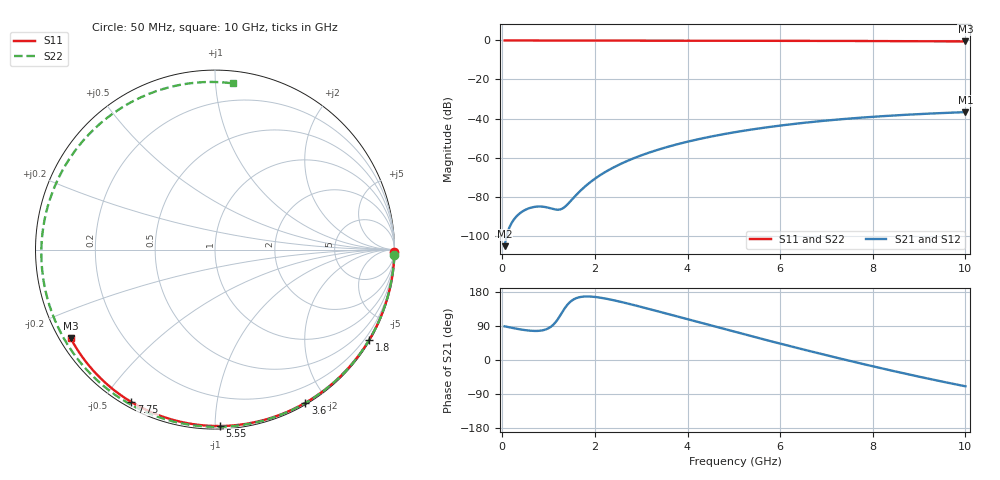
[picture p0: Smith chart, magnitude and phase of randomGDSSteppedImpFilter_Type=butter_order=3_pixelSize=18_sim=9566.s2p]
! freq	dB(S11)	phase(S11)	dB(S12)	phase(S12)
!  dB(S21)	phase(S21)	dB(S22)	phase(S22)
!S-par simulation data
#  GHz  S  DB  R 50
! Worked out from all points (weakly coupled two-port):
!   200 points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, 50 MHz to 10 GHz, reference 50 ohm
!   highest |S21| = -36.73 dB at 10 GHz (marker M1); lowest = -105.4 dB at 50 MHz (marker M2)
!   lowest |S11| = -0.5 dB at 10 GHz (marker M3), VSWR 34.54, Z = 1.56 - j14.2 ohm
!   |S11| at or under -10 dB: nowhere
!   |S22| runs from -0.6 to 0.0 dB; largest |S21 - S12| = 0
!   S11 on the Smith chart (normalised r, x): 50 MHz: open; 1.8 GHz: 0.03, -3.67; 3.6 GHz: 0.02, -1.75; 5.55 GHz: 0.02, -1.03; 7.75 GHz: 0.02, -0.59; 10 GHz: 0.03, -0.28
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0.05  -0.00 -0.9  -105.42 88.9  -105.42 88.9  -0.00 -1.7
0.4  -0.01 -6.9  -88.20 80.5  -88.20 80.5  -0.02 -13.7
0.75  -0.02 -12.8  -85.15 76.7  -85.15 76.7  -0.03 -25.6
1.55  -0.03 -26.3  -80.38 160.6  -80.38 160.6  -0.07 -51.9
1.75  -0.04 -29.7  -75.61 167.3  -75.61 167.3  -0.07 -58.3
1.8  -0.04 -30.5  -74.56 167.6  -74.56 167.6  -0.07 -59.8
2.1  -0.05 -35.4  -69.24 164.8  -69.24 164.8  -0.08 -69.1
2.45  -0.05 -41.2  -64.50 156.5  -64.50 156.5  -0.10 -79.6
2.9  -0.06 -48.4  -59.79 143.2  -59.79 143.2  -0.11 -92.5
3.4  -0.08 -56.3  -55.73 127.2  -55.73 127.2  -0.13 -106.3
3.6  -0.08 -59.4  -54.34 120.7  -54.34 120.7  -0.14 -111.7
4.35  -0.10 -70.9  -50.02 96.1  -50.02 96.1  -0.17 -131.0
5.05  -0.13 -81.3  -46.90 73.3  -46.90 73.3  -0.20 -148.2
5.55  -0.15 -88.5  -45.06 57.4  -45.06 57.4  -0.23 -160.2
6.15  -0.17 -97.0  -43.19 38.5  -43.19 38.5  -0.27 -174.5
6.7  -0.20 -104.6  -41.74 21.7  -41.74 21.7  -0.31 172.3
7.2  -0.24 -111.4  -40.62 6.7  -40.62 6.7  -0.35 160.1
7.75  -0.28 -118.7  -39.56 -9.4  -39.56 -9.4  -0.40 146.4
8.35  -0.33 -126.7  -38.60 -26.4  -38.60 -26.4  -0.45 130.8
9.2  -0.41 -137.8  -37.51 -49.3  -37.51 -49.3  -0.53 107.4
9.6  -0.45 -143.1  -37.09 -59.5  -37.09 -59.5  -0.57 95.8
10  -0.50 -148.4  -36.73 -69.4  -36.73 -69.4  -0.62 83.8
